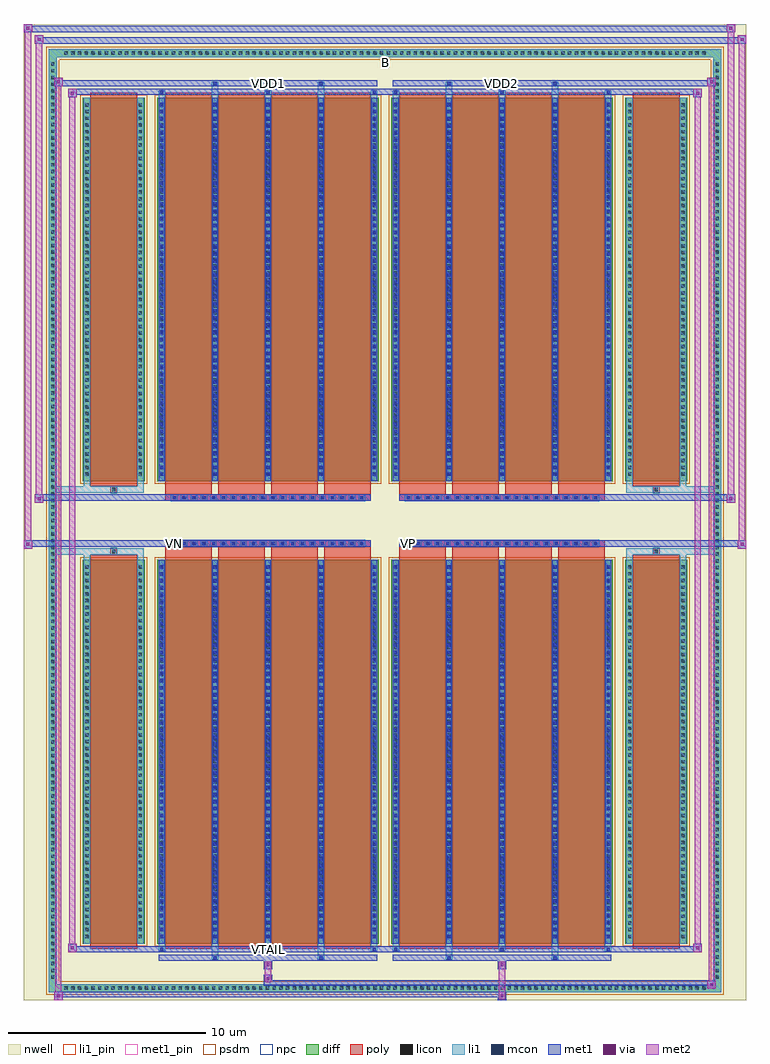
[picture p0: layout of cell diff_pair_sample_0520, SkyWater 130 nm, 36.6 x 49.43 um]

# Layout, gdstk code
import gdstk
lib = gdstk.Library(unit=1e-6, precision=5e-09)
def R(c, l, rs):  # rectangles x0, y0, x1, y1
    for r in rs: c.add(gdstk.rectangle(r[:2], r[2:], *l))
def A(c, l, x, y, w, h, nx, ny, dx, dy):  # array of equal rectangles
    R(c, l, [(x+i*dx, y+j*dy, x+i*dx+w, y+j*dy+h) for i in range(nx) for j in range(ny)])
def P(c, l, *ps):  # polygons
    for p in ps: c.add(gdstk.Polygon(p, *l))
nwell = (64, 20)
diff = (65, 20)
poly = (66, 20)
licon = (66, 44)
li1_pin = (67, 16)
li1 = (67, 20)
mcon = (67, 44)
met1_pin = (68, 16)
met1 = (68, 20)
via = (68, 44)
met2 = (69, 20)
psdm = (94, 20)
npc = (95, 20)

diff_pair_sample_0520 = lib.new_cell('diff_pair_sample_0520')
R(diff_pair_sample_0520, nwell, [(-18.3,-24.28,18.3,25.15), (-15.62,-22.47,-0.01,-0.795), (0.01,-22.47,15.62,-0.795), (-15.62,0.795,-0.01,22.47), (0.01,0.795,15.62,22.47)])
A(diff_pair_sample_0520, diff, -16.355, -23.88, 0.41, 0.41, 96, 2, 0.34, 47.35)
A(diff_pair_sample_0520, diff, -17.03, -23.325, 0.41, 0.41, 1, 137, 0, 0.34)
A(diff_pair_sample_0520, diff, 16.62, -23.325, 0.41, 0.41, 1, 137, 0, 0.34)
R(diff_pair_sample_0520, diff, [(-16.355,-23.88,16.355,-23.47), (-17.03,-23.325,-16.62,23.325), (16.62,-23.325,17.03,23.325), (-15.31,-21.425,-12.17,-1.985), (-11.53,-21.425,-0.32,-1.985), (0.32,-21.425,11.53,-1.985), (12.17,-21.425,15.31,-1.985), (-15.31,1.985,-12.17,21.425), (-11.53,1.985,-0.32,21.425), (0.32,1.985,11.53,21.425), (12.17,1.985,15.31,21.425), (-16.355,23.47,16.355,23.88)])
P(diff_pair_sample_0520, diff, [(17.03,23.88),(-17.03,23.88),(-17.03,-23.47),(-16.62,-23.47),(-16.62,23.47),(16.62,23.47),(16.62,-23.47),(-16.62,-23.47),(-17.03,-23.47),(-17.03,-23.88),(17.03,-23.88)])
A(diff_pair_sample_0520, poly, -11.14, -21.675, 2.36, 19.94, 4, 2, 2.69, 23.41)
A(diff_pair_sample_0520, poly, 0.71, -21.675, 2.36, 19.94, 4, 2, 2.69, 23.41)
A(diff_pair_sample_0520, poly, -11.14, -1.735, 2.36, 0.41, 4, 2, 2.69, 3.06)
A(diff_pair_sample_0520, poly, 0.71, -1.735, 2.36, 0.41, 4, 2, 2.69, 3.06)
A(diff_pair_sample_0520, poly, -10.84, -1.325, 0.33, 0.33, 20, 2, 0.5, 2.32)
A(diff_pair_sample_0520, poly, 1.01, -1.325, 0.33, 0.33, 20, 2, 0.5, 2.32)
R(diff_pair_sample_0520, poly, [(-14.92,-21.675,-12.56,-1.735), (12.56,-21.675,14.92,-1.735), (-13.905,-1.735,-13.575,-1.405), (-13.905,-1.735,-13.575,-1.405), (13.575,-1.735,13.905,-1.405), (13.575,-1.735,13.905,-1.405), (-11.14,-1.325,-0.71,-0.995), (0.71,-1.325,11.14,-0.995), (-11.14,0.995,-0.71,1.325), (0.71,0.995,11.14,1.325), (-13.905,1.405,-13.575,1.735), (-13.905,1.405,-13.575,1.735), (13.575,1.405,13.905,1.735), (13.575,1.405,13.905,1.735), (-14.92,1.735,-12.56,21.675), (12.56,1.735,14.92,21.675)])
A(diff_pair_sample_0520, licon, -16.235, -23.76, 0.17, 0.17, 96, 2, 0.34, 47.35)
A(diff_pair_sample_0520, licon, -16.91, -23.205, 0.17, 0.17, 1, 137, 0, 0.34)
A(diff_pair_sample_0520, licon, 16.74, -23.205, 0.17, 0.17, 1, 137, 0, 0.34)
A(diff_pair_sample_0520, licon, -15.17, -21.14, 0.17, 0.17, 1, 56, 0, 0.34)
A(diff_pair_sample_0520, licon, -12.48, -21.14, 0.17, 0.17, 1, 56, 0, 0.34)
A(diff_pair_sample_0520, licon, -11.39, -21.14, 0.17, 0.17, 5, 56, 2.69, 0.34)
A(diff_pair_sample_0520, licon, 0.46, -21.14, 0.17, 0.17, 5, 56, 2.69, 0.34)
A(diff_pair_sample_0520, licon, 12.31, -21.14, 0.17, 0.17, 1, 56, 0, 0.34)
A(diff_pair_sample_0520, licon, 15, -21.14, 0.17, 0.17, 1, 56, 0, 0.34)
A(diff_pair_sample_0520, licon, -10.76, -1.245, 0.17, 0.17, 20, 2, 0.5, 2.32)
A(diff_pair_sample_0520, licon, 1.09, -1.245, 0.17, 0.17, 20, 2, 0.5, 2.32)
A(diff_pair_sample_0520, licon, -15.17, 2.27, 0.17, 0.17, 1, 56, 0, 0.34)
A(diff_pair_sample_0520, licon, -12.48, 2.27, 0.17, 0.17, 1, 56, 0, 0.34)
A(diff_pair_sample_0520, licon, -11.39, 2.27, 0.17, 0.17, 5, 56, 2.69, 0.34)
A(diff_pair_sample_0520, licon, 0.46, 2.27, 0.17, 0.17, 5, 56, 2.69, 0.34)
A(diff_pair_sample_0520, licon, 12.31, 2.27, 0.17, 0.17, 1, 56, 0, 0.34)
A(diff_pair_sample_0520, licon, 15, 2.27, 0.17, 0.17, 1, 56, 0, 0.34)
R(diff_pair_sample_0520, licon, [(-13.825,-1.655,-13.655,-1.485), (13.655,-1.655,13.825,-1.485), (-13.825,1.485,-13.655,1.655), (13.655,1.485,13.825,1.655)])
R(diff_pair_sample_0520, li1_pin, [(-0.25,22.97,0.25,23.47)])
A(diff_pair_sample_0520, li1, -16.315, -23.84, 0.33, 0.33, 96, 2, 0.34, 47.35)
A(diff_pair_sample_0520, li1, -16.99, -23.285, 0.33, 0.33, 1, 137, 0, 0.34)
A(diff_pair_sample_0520, li1, 16.66, -23.285, 0.33, 0.33, 1, 137, 0, 0.34)
A(diff_pair_sample_0520, li1, -11.47, -21.8, 0.33, 0.375, 3, 2, 5.38, 43.225)
A(diff_pair_sample_0520, li1, -11.39, -21.8, 0.17, 0.17, 3, 2, 5.38, 43.43)
A(diff_pair_sample_0520, li1, 0.38, -21.8, 0.33, 0.375, 3, 2, 5.38, 43.225)
A(diff_pair_sample_0520, li1, 0.46, -21.8, 0.17, 0.17, 3, 2, 5.38, 43.43)
A(diff_pair_sample_0520, li1, -11.47, -21.425, 0.33, 19.44, 5, 2, 2.69, 23.41)
A(diff_pair_sample_0520, li1, 0.38, -21.425, 0.33, 19.44, 5, 2, 2.69, 23.41)
A(diff_pair_sample_0520, li1, -15.25, -21.22, 0.33, 0.33, 1, 56, 0, 0.34)
A(diff_pair_sample_0520, li1, -12.56, -21.22, 0.33, 0.33, 1, 56, 0, 0.34)
A(diff_pair_sample_0520, li1, -11.47, -21.22, 0.33, 0.33, 5, 56, 2.69, 0.34)
A(diff_pair_sample_0520, li1, 0.38, -21.22, 0.33, 0.33, 5, 56, 2.69, 0.34)
A(diff_pair_sample_0520, li1, 12.23, -21.22, 0.33, 0.33, 1, 56, 0, 0.34)
A(diff_pair_sample_0520, li1, 14.92, -21.22, 0.33, 0.33, 1, 56, 0, 0.34)
A(diff_pair_sample_0520, li1, -11.39, -21.15, 0.17, 0.17, 5, 53, 2.69, 0.36)
A(diff_pair_sample_0520, li1, -11.39, -21.15, 0.17, 18.89, 5, 2, 2.69, 23.41)
A(diff_pair_sample_0520, li1, 0.46, -21.15, 0.17, 0.17, 5, 53, 2.69, 0.36)
A(diff_pair_sample_0520, li1, 0.46, -21.15, 0.17, 18.89, 5, 2, 2.69, 23.41)
A(diff_pair_sample_0520, li1, -10.84, -1.325, 0.33, 0.33, 20, 2, 0.5, 2.32)
A(diff_pair_sample_0520, li1, 1.01, -1.325, 0.33, 0.33, 20, 2, 0.5, 2.32)
A(diff_pair_sample_0520, li1, -15.25, 2.19, 0.33, 0.33, 1, 56, 0, 0.34)
A(diff_pair_sample_0520, li1, -12.56, 2.19, 0.33, 0.33, 1, 56, 0, 0.34)
A(diff_pair_sample_0520, li1, -11.47, 2.19, 0.33, 0.33, 5, 56, 2.69, 0.34)
A(diff_pair_sample_0520, li1, 0.38, 2.19, 0.33, 0.33, 5, 56, 2.69, 0.34)
A(diff_pair_sample_0520, li1, 12.23, 2.19, 0.33, 0.33, 1, 56, 0, 0.34)
A(diff_pair_sample_0520, li1, 14.92, 2.19, 0.33, 0.33, 1, 56, 0, 0.34)
A(diff_pair_sample_0520, li1, -11.39, 2.26, 0.17, 0.17, 5, 53, 2.69, 0.36)
A(diff_pair_sample_0520, li1, 0.46, 2.26, 0.17, 0.17, 5, 53, 2.69, 0.36)
R(diff_pair_sample_0520, li1, [(-17.03,-23.88,-16.62,-23.47), (-17.03,-23.88,-16.62,-23.47), (-16.62,-23.88,16.62,-23.47), (16.62,-23.88,17.03,-23.47), (16.62,-23.88,17.03,-23.47), (-17.03,-23.47,-16.62,23.47), (16.62,-23.47,17.03,23.47), (-8.78,-22.23,-8.45,-21.425), (-8.7,-22.23,-8.53,-22.06), (-3.4,-22.23,-3.07,-21.425), (-3.32,-22.23,-3.15,-22.06), (3.07,-22.23,3.4,-21.425), (3.15,-22.23,3.32,-22.06), (8.45,-22.23,8.78,-21.425), (8.53,-22.23,8.7,-22.06), (-15.25,-21.425,-14.92,-1.985), (-12.56,-21.425,-12.23,-1.985), (12.23,-21.425,12.56,-1.985), (14.92,-21.425,15.25,-1.985), (-15.25,-1.985,-14.92,-1.405), (-12.56,-1.985,-12.23,-1.405), (12.23,-1.985,12.56,-1.405), (14.92,-1.985,15.25,-1.405), (-17.03,-1.735,-13.905,-1.405), (-15.25,-1.735,-13.905,-1.405), (-13.905,-1.735,-13.575,-1.405), (-13.575,-1.735,-12.23,-1.405), (12.23,-1.735,13.575,-1.405), (13.575,-1.735,13.905,-1.405), (13.575,-1.735,17.03,-1.405), (13.905,-1.735,15.25,-1.405), (-17.03,1.405,-13.905,1.735), (-15.25,1.405,-13.905,1.735), (-15.25,1.405,-14.92,1.985), (-13.905,1.405,-13.575,1.735), (-13.575,1.405,-12.23,1.735), (-12.56,1.405,-12.23,1.985), (12.23,1.405,13.575,1.735), (12.23,1.405,12.56,1.985), (13.575,1.405,13.905,1.735), (13.575,1.405,17.03,1.735), (13.905,1.405,15.25,1.735), (14.92,1.405,15.25,1.985), (-15.25,1.985,-14.92,21.425), (-12.56,1.985,-12.23,21.425), (12.23,1.985,12.56,21.425), (14.92,1.985,15.25,21.425), (-8.78,21.425,-8.45,22.23), (-3.4,21.425,-3.07,22.23), (3.07,21.425,3.4,22.23), (8.45,21.425,8.78,22.23), (-8.7,22.06,-8.53,22.23), (-3.32,22.06,-3.15,22.23), (3.15,22.06,3.32,22.23), (8.53,22.06,8.7,22.23), (-17.03,23.47,-16.62,23.88), (-17.03,23.47,-16.62,23.88), (-16.62,23.47,16.62,23.88), (16.62,23.47,17.03,23.88), (16.62,23.47,17.03,23.88)])
A(diff_pair_sample_0520, mcon, -11.39, -21.8, 0.17, 0.17, 3, 2, 5.38, 43.43)
A(diff_pair_sample_0520, mcon, 0.46, -21.8, 0.17, 0.17, 3, 2, 5.38, 43.43)
A(diff_pair_sample_0520, mcon, -11.39, -21.15, 0.17, 0.17, 5, 53, 2.69, 0.36)
A(diff_pair_sample_0520, mcon, 0.46, -21.15, 0.17, 0.17, 5, 53, 2.69, 0.36)
A(diff_pair_sample_0520, mcon, -10.76, -1.245, 0.17, 0.17, 20, 2, 0.5, 2.32)
A(diff_pair_sample_0520, mcon, 1.09, -1.245, 0.17, 0.17, 20, 2, 0.5, 2.32)
A(diff_pair_sample_0520, mcon, -11.39, 2.26, 0.17, 0.17, 5, 53, 2.69, 0.36)
A(diff_pair_sample_0520, mcon, 0.46, 2.26, 0.17, 0.17, 5, 53, 2.69, 0.36)
R(diff_pair_sample_0520, mcon, [(-8.7,-22.23,-8.53,-22.06), (-3.32,-22.23,-3.15,-22.06), (3.15,-22.23,3.32,-22.06), (8.53,-22.23,8.7,-22.06), (-8.7,22.06,-8.53,22.23), (-3.32,22.06,-3.15,22.23), (3.15,22.06,3.32,22.23), (8.53,22.06,8.7,22.23)])
R(diff_pair_sample_0520, met1_pin, [(-6.06,-21.84,-5.79,-21.57), (-10.81,-1.285,-10.54,-1.015), (1.04,-1.285,1.31,-1.015), (-6.06,22.02,-5.79,22.29), (5.79,22.02,6.06,22.29)])
A(diff_pair_sample_0520, met1, -11.45, -21.86, 0.29, 0.29, 3, 2, 5.38, 43.43)
A(diff_pair_sample_0520, met1, 0.4, -21.86, 0.29, 0.29, 3, 2, 5.38, 43.43)
A(diff_pair_sample_0520, met1, -11.45, -21.425, 0.29, 19.44, 5, 2, 2.69, 23.41)
A(diff_pair_sample_0520, met1, 0.4, -21.425, 0.29, 19.44, 5, 2, 2.69, 23.41)
A(diff_pair_sample_0520, met1, -11.45, -21.21, 0.29, 0.29, 5, 53, 2.69, 0.36)
A(diff_pair_sample_0520, met1, 0.4, -21.21, 0.29, 0.29, 5, 53, 2.69, 0.36)
A(diff_pair_sample_0520, met1, -10.82, -1.305, 0.29, 0.29, 20, 2, 0.5, 2.32)
A(diff_pair_sample_0520, met1, 1.03, -1.305, 0.29, 0.29, 20, 2, 0.5, 2.32)
A(diff_pair_sample_0520, met1, -11.45, 2.2, 0.29, 0.29, 5, 53, 2.69, 0.36)
A(diff_pair_sample_0520, met1, 0.4, 2.2, 0.29, 0.29, 5, 53, 2.69, 0.36)
R(diff_pair_sample_0520, met1, [(-16.76,-24.28,-16.33,-23.85), (5.71,-24.28,6.14,-23.85), (-16.76,-24.14,6.14,-23.85), (16.33,-23.71,16.76,-23.28), (-6.14,-23.57,16.76,-23.28), (-6.14,-23.43,-5.71,-23), (-6.14,-22.72,-5.71,-22.29), (5.71,-22.72,6.14,-22.29), (-11.45,-22.29,-0.4,-22), (-8.76,-22.29,-8.47,-22), (-3.38,-22.29,-3.09,-22), (0.4,-22.29,11.45,-22), (3.09,-22.29,3.38,-22), (8.47,-22.29,8.76,-22), (-16.05,-21.86,-15.62,-21.43), (-16.05,-21.86,-11.45,-21.57), (-11.45,-21.86,-0.4,-21.57), (-0.4,-21.86,0.4,-21.57), (0.4,-21.86,11.45,-21.57), (11.45,-21.86,16.05,-21.57), (15.62,-21.86,16.05,-21.43), (-18.3,-1.425,-17.87,-0.995), (17.87,-1.425,18.3,-0.995), (-18.3,-1.325,-0.71,-0.995), (-11.14,-1.325,-0.71,-0.995), (0.71,-1.325,11.14,-0.995), (0.71,-1.325,18.3,-0.995), (-17.73,0.895,-17.3,1.325), (17.3,0.895,17.73,1.325), (-17.73,0.995,-11.14,1.325), (-11.14,0.995,-0.71,1.325), (0.71,0.995,11.14,1.325), (11.14,0.995,17.73,1.325), (-16.05,21.43,-15.62,21.86), (15.62,21.43,16.05,21.86), (-16.05,21.57,-11.45,21.86), (-11.45,21.57,-0.4,21.86), (-0.4,21.57,0.4,21.86), (0.4,21.57,11.45,21.86), (11.45,21.57,16.05,21.86), (-16.76,22,-16.33,22.43), (-16.76,22,-11.45,22.29), (-11.45,22,-0.4,22.29), (-8.76,22,-8.47,22.29), (-3.38,22,-3.09,22.29), (0.4,22,11.45,22.29), (3.09,22,3.38,22.29), (8.47,22,8.76,22.29), (11.45,22,16.76,22.29), (16.33,22,16.76,22.43), (-17.73,24.15,-17.3,24.58), (-17.73,24.15,-15.62,24.48), (-15.62,24.15,15.62,24.48), (15.62,24.15,18.3,24.48), (17.87,24.15,18.3,24.58), (-18.3,24.72,-17.87,25.15), (-18.3,24.72,-15.62,25.05), (-15.62,24.72,15.62,25.05), (15.62,24.72,17.73,25.05), (17.3,24.72,17.73,25.15)])
R(diff_pair_sample_0520, via, [(-16.62,-24.14,-16.47,-23.99), (5.85,-24.14,6,-23.99), (16.47,-23.57,16.62,-23.42), (-6,-23.29,-5.85,-23.14), (-6,-22.58,-5.85,-22.43), (5.85,-22.58,6,-22.43), (-15.91,-21.72,-15.76,-21.57), (15.76,-21.72,15.91,-21.57), (-18.16,-1.285,-18.01,-1.135), (18.01,-1.285,18.16,-1.135), (-17.59,1.035,-17.44,1.185), (17.44,1.035,17.59,1.185), (-15.91,21.57,-15.76,21.72), (15.76,21.57,15.91,21.72), (-16.62,22.14,-16.47,22.29), (16.47,22.14,16.62,22.29), (-17.59,24.29,-17.44,24.44), (18.01,24.29,18.16,24.44), (-18.16,24.86,-18.01,25.01), (17.44,24.86,17.59,25.01)])
R(diff_pair_sample_0520, met2, [(-16.76,-24.28,-16.33,-23.85), (-16.69,-24.28,-16.4,22.43), (-16.4,-24.28,-16.33,-23.85), (-16.71,-24.23,-16.38,-23.9), (5.76,-24.23,6.09,-23.9), (5.76,-23.9,6.09,-22.67), (16.33,-23.71,16.76,-23.28), (16.4,-23.71,16.69,22.43), (16.69,-23.71,16.76,-23.28), (16.38,-23.66,16.71,-23.33), (-6.09,-23.38,-5.76,-23.05), (-6.09,-23.05,-5.76,-22.67), (-6.09,-22.67,-5.76,-22.34), (5.76,-22.67,6.09,-22.34), (-16.05,-21.86,-15.62,-21.43), (-15.98,-21.86,-15.69,21.86), (-15.69,-21.86,-15.62,-21.43), (15.62,-21.86,16.05,-21.43), (15.69,-21.86,15.98,21.86), (15.98,-21.86,16.05,-21.43), (-16,-21.81,-15.67,-21.48), (15.67,-21.81,16,-21.48), (-18.3,-1.425,-17.87,-0.995), (-18.25,-1.425,-17.92,25.15), (-17.92,-1.425,-17.87,-0.995), (17.87,-1.425,18.3,-0.995), (17.92,-1.425,18.25,24.58), (18.25,-1.425,18.3,-0.995), (-18.25,-1.375,-17.92,-1.045), (17.92,-1.375,18.25,-1.045), (-17.73,0.895,-17.3,1.325), (-17.68,0.895,-17.35,24.58), (-17.35,0.895,-17.3,1.325), (17.3,0.895,17.73,1.325), (17.35,0.895,17.68,25.15), (17.68,0.895,17.73,1.325), (-17.68,0.945,-17.35,1.275), (17.35,0.945,17.68,1.275), (-16.05,21.43,-15.62,21.86), (-15.69,21.43,-15.62,21.86), (15.62,21.43,16.05,21.86), (15.98,21.43,16.05,21.86), (-16,21.48,-15.67,21.81), (15.67,21.48,16,21.81), (-16.76,22,-16.33,22.43), (-16.4,22,-16.33,22.43), (16.33,22,16.76,22.43), (16.69,22,16.76,22.43), (-16.71,22.05,-16.38,22.38), (16.38,22.05,16.71,22.38), (-17.73,24.15,-17.3,24.58), (-17.35,24.15,-17.3,24.58), (17.87,24.15,18.3,24.58), (18.25,24.15,18.3,24.58), (-17.68,24.2,-17.35,24.53), (17.92,24.2,18.25,24.53), (-18.3,24.72,-17.87,25.15), (-17.92,24.72,-17.87,25.15), (17.3,24.72,17.73,25.15), (17.68,24.72,17.73,25.15), (-18.25,24.77,-17.92,25.1), (17.35,24.77,17.68,25.1)])
R(diff_pair_sample_0520, psdm, [(-15.44,-21.555,-12.04,-1.855), (-11.66,-21.555,-0.19,-1.855), (0.19,-21.555,11.66,-1.855), (12.04,-21.555,15.44,-1.855), (-15.44,1.855,-12.04,21.555), (-11.66,1.855,-0.19,21.555), (0.19,1.855,11.66,21.555), (12.04,1.855,15.44,21.555)])
P(diff_pair_sample_0520, psdm, [(17.16,24.01),(-17.16,24.01),(-17.16,-23.34),(-16.49,-23.34),(-16.49,23.34),(16.49,23.34),(16.49,-23.34),(-16.49,-23.34),(-17.16,-23.34),(-17.16,-24.01),(17.16,-24.01)])
A(diff_pair_sample_0520, npc, -10.86, -1.345, 0.37, 0.37, 20, 2, 0.5, 2.32)
A(diff_pair_sample_0520, npc, 0.99, -1.345, 0.37, 0.37, 20, 2, 0.5, 2.32)
R(diff_pair_sample_0520, npc, [(-13.925,-1.755,-13.555,-1.385), (13.555,-1.755,13.925,-1.385), (-10.86,-1.345,-9.99,-0.975), (-10.86,-1.345,-9.99,-0.975), (-10.36,-1.345,-9.49,-0.975), (-10.36,-1.345,-9.49,-0.975), (-9.86,-1.345,-8.99,-0.975), (-9.86,-1.345,-8.99,-0.975), (-9.36,-1.345,-8.49,-0.975), (-9.36,-1.345,-8.49,-0.975), (-8.86,-1.345,-7.99,-0.975), (-8.86,-1.345,-7.99,-0.975), (-8.36,-1.345,-7.49,-0.975), (-8.36,-1.345,-7.49,-0.975), (-7.86,-1.345,-6.99,-0.975), (-7.86,-1.345,-6.99,-0.975), (-7.36,-1.345,-6.49,-0.975), (-7.36,-1.345,-6.49,-0.975), (-6.86,-1.345,-5.99,-0.975), (-6.86,-1.345,-5.99,-0.975), (-6.36,-1.345,-5.49,-0.975), (-6.36,-1.345,-5.49,-0.975), (-5.86,-1.345,-4.99,-0.975), (-5.86,-1.345,-4.99,-0.975), (-5.36,-1.345,-4.49,-0.975), (-5.36,-1.345,-4.49,-0.975), (-4.86,-1.345,-3.99,-0.975), (-4.86,-1.345,-3.99,-0.975), (-4.36,-1.345,-3.49,-0.975), (-4.36,-1.345,-3.49,-0.975), (-3.86,-1.345,-2.99,-0.975), (-3.86,-1.345,-2.99,-0.975), (-3.36,-1.345,-2.49,-0.975), (-3.36,-1.345,-2.49,-0.975), (-2.86,-1.345,-1.99,-0.975), (-2.86,-1.345,-1.99,-0.975), (-2.36,-1.345,-1.49,-0.975), (-2.36,-1.345,-1.49,-0.975), (-1.86,-1.345,-0.99,-0.975), (-1.86,-1.345,-0.99,-0.975), (0.99,-1.345,1.86,-0.975), (0.99,-1.345,1.86,-0.975), (1.49,-1.345,2.36,-0.975), (1.49,-1.345,2.36,-0.975), (1.99,-1.345,2.86,-0.975), (1.99,-1.345,2.86,-0.975), (2.49,-1.345,3.36,-0.975), (2.49,-1.345,3.36,-0.975), (2.99,-1.345,3.86,-0.975), (2.99,-1.345,3.86,-0.975), (3.49,-1.345,4.36,-0.975), (3.49,-1.345,4.36,-0.975), (3.99,-1.345,4.86,-0.975), (3.99,-1.345,4.86,-0.975), (4.49,-1.345,5.36,-0.975), (4.49,-1.345,5.36,-0.975), (4.99,-1.345,5.86,-0.975), (4.99,-1.345,5.86,-0.975), (5.49,-1.345,6.36,-0.975), (5.49,-1.345,6.36,-0.975), (5.99,-1.345,6.86,-0.975), (5.99,-1.345,6.86,-0.975), (6.49,-1.345,7.36,-0.975), (6.49,-1.345,7.36,-0.975), (6.99,-1.345,7.86,-0.975), (6.99,-1.345,7.86,-0.975), (7.49,-1.345,8.36,-0.975), (7.49,-1.345,8.36,-0.975), (7.99,-1.345,8.86,-0.975), (7.99,-1.345,8.86,-0.975), (8.49,-1.345,9.36,-0.975), (8.49,-1.345,9.36,-0.975), (8.99,-1.345,9.86,-0.975), (8.99,-1.345,9.86,-0.975), (9.49,-1.345,10.36,-0.975), (9.49,-1.345,10.36,-0.975), (9.99,-1.345,10.86,-0.975), (9.99,-1.345,10.86,-0.975), (-10.86,0.975,-9.99,1.345), (-10.86,0.975,-9.99,1.345), (-10.36,0.975,-9.49,1.345), (-10.36,0.975,-9.49,1.345), (-9.86,0.975,-8.99,1.345), (-9.86,0.975,-8.99,1.345), (-9.36,0.975,-8.49,1.345), (-9.36,0.975,-8.49,1.345), (-8.86,0.975,-7.99,1.345), (-8.86,0.975,-7.99,1.345), (-8.36,0.975,-7.49,1.345), (-8.36,0.975,-7.49,1.345), (-7.86,0.975,-6.99,1.345), (-7.86,0.975,-6.99,1.345), (-7.36,0.975,-6.49,1.345), (-7.36,0.975,-6.49,1.345), (-6.86,0.975,-5.99,1.345), (-6.86,0.975,-5.99,1.345), (-6.36,0.975,-5.49,1.345), (-6.36,0.975,-5.49,1.345), (-5.86,0.975,-4.99,1.345), (-5.86,0.975,-4.99,1.345), (-5.36,0.975,-4.49,1.345), (-5.36,0.975,-4.49,1.345), (-4.86,0.975,-3.99,1.345), (-4.86,0.975,-3.99,1.345), (-4.36,0.975,-3.49,1.345), (-4.36,0.975,-3.49,1.345), (-3.86,0.975,-2.99,1.345), (-3.86,0.975,-2.99,1.345), (-3.36,0.975,-2.49,1.345), (-3.36,0.975,-2.49,1.345), (-2.86,0.975,-1.99,1.345), (-2.86,0.975,-1.99,1.345), (-2.36,0.975,-1.49,1.345), (-2.36,0.975,-1.49,1.345), (-1.86,0.975,-0.99,1.345), (-1.86,0.975,-0.99,1.345), (0.99,0.975,1.86,1.345), (0.99,0.975,1.86,1.345), (1.49,0.975,2.36,1.345), (1.49,0.975,2.36,1.345), (1.99,0.975,2.86,1.345), (1.99,0.975,2.86,1.345), (2.49,0.975,3.36,1.345), (2.49,0.975,3.36,1.345), (2.99,0.975,3.86,1.345), (2.99,0.975,3.86,1.345), (3.49,0.975,4.36,1.345), (3.49,0.975,4.36,1.345), (3.99,0.975,4.86,1.345), (3.99,0.975,4.86,1.345), (4.49,0.975,5.36,1.345), (4.49,0.975,5.36,1.345), (4.99,0.975,5.86,1.345), (4.99,0.975,5.86,1.345), (5.49,0.975,6.36,1.345), (5.49,0.975,6.36,1.345), (5.99,0.975,6.86,1.345), (5.99,0.975,6.86,1.345), (6.49,0.975,7.36,1.345), (6.49,0.975,7.36,1.345), (6.99,0.975,7.86,1.345), (6.99,0.975,7.86,1.345), (7.49,0.975,8.36,1.345), (7.49,0.975,8.36,1.345), (7.99,0.975,8.86,1.345), (7.99,0.975,8.86,1.345), (8.49,0.975,9.36,1.345), (8.49,0.975,9.36,1.345), (8.99,0.975,9.86,1.345), (8.99,0.975,9.86,1.345), (9.49,0.975,10.36,1.345), (9.49,0.975,10.36,1.345), (9.99,0.975,10.86,1.345), (9.99,0.975,10.86,1.345), (-13.925,1.385,-13.555,1.755), (13.555,1.385,13.925,1.755)])
diff_pair_sample_0520.add(gdstk.Label('VTAIL', (-5.925,-21.705), layer=68, texttype=5))
diff_pair_sample_0520.add(gdstk.Label('VN', (-10.675,-1.15), layer=68, texttype=5))
diff_pair_sample_0520.add(gdstk.Label('VP', (1.175,-1.15), layer=68, texttype=5))
diff_pair_sample_0520.add(gdstk.Label('B', (0,23.22), layer=67, texttype=5))
diff_pair_sample_0520.add(gdstk.Label('VDD2', (5.925,22.155), layer=68, texttype=5))
diff_pair_sample_0520.add(gdstk.Label('VDD1', (-5.925,22.155), layer=68, texttype=5))

lib.write_gds('diff_pair_sample_0520.gds')
